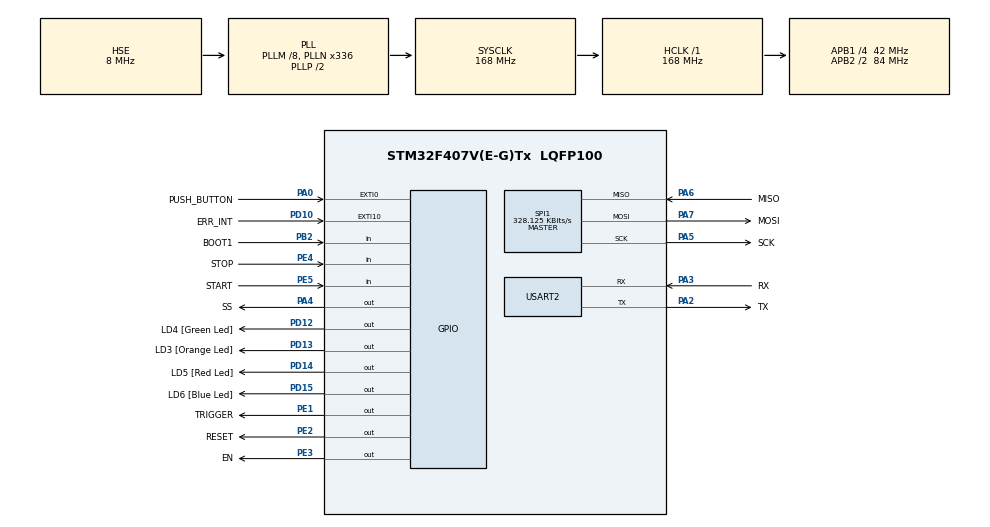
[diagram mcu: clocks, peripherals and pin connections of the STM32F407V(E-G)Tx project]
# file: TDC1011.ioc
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Mcu.Family=STM32F4
Mcu.Name=STM32F407V(E-G)Tx
Mcu.Package=LQFP100
NVIC.EXTI0_IRQn=true\:1\:0\:true\:false\:true\:true
NVIC.EXTI15_10_IRQn=true\:1\:0\:true\:false\:true\:true
NVIC.PriorityGroup=NVIC_PRIORITYGROUP_1
NVIC.RCC_IRQn=true\:0\:0\:false\:false\:true\:true
NVIC.SPI1_IRQn=true\:0\:0\:false\:false\:true\:true
PA0-WKUP.GPIO_Label=PUSH_BUTTON
PA0-WKUP.Signal=GPXTI0
PA13.GPIO_Label=SWDIO
PA13.Mode=Serial_Wire
PA13.Signal=SYS_JTMS-SWDIO
PA14.GPIO_Label=SWCLK
PA14.Mode=Serial_Wire
PA14.Signal=SYS_JTCK-SWCLK
PA2.GPIO_Label=TX
PA2.Mode=Asynchronous
PA2.Signal=USART2_TX
PA3.GPIO_Label=RX
PA3.Mode=Asynchronous
PA3.Signal=USART2_RX
PA4.GPIO_Label=SS
PA4.GPIO_ModeDefaultOutputPP=GPIO_MODE_OUTPUT_OD
PA4.GPIO_PuPd=GPIO_PULLUP
PA4.PinState=GPIO_PIN_SET
PA4.Signal=GPIO_Output
PA5.GPIO_Label=SCK
PA5.Mode=Full_Duplex_Master
PA5.Signal=SPI1_SCK
PA6.GPIO_Label=MISO
PA6.Mode=Full_Duplex_Master
PA6.Signal=SPI1_MISO
PA7.GPIO_Label=MOSI
PA7.Mode=Full_Duplex_Master
PA7.Signal=SPI1_MOSI
PB2.GPIO_Label=BOOT1
PB2.GPIO_Mode=GPIO_MODE_INPUT
PB2.GPIO_PuPd=GPIO_NOPULL
PB2.Signal=GPIO_Input
PC14-OSC32_IN.GPIO_Label=PC14-OSC32_IN
PC14-OSC32_IN.Mode=LSE-External-Oscillator
PC14-OSC32_IN.Signal=RCC_OSC32_IN
PC15-OSC32_OUT.GPIO_Label=PC15-OSC32_OUT
PC15-OSC32_OUT.Mode=LSE-External-Oscillator
PC15-OSC32_OUT.Signal=RCC_OSC32_OUT
PD10.GPIO_Label=ERR_INT
PD10.GPIO_ModeDefaultEXTI=GPIO_MODE_IT_FALLING
PD10.Signal=GPXTI10
PD12.GPIO_Label=LD4 [Green Led]
PD12.GPIO_PuPd=GPIO_NOPULL
PD12.GPIO_Speed=GPIO_SPEED_FREQ_LOW
PD12.Signal=GPIO_Output
PD13.GPIO_Label=LD3 [Orange Led]
PD13.GPIO_PuPd=GPIO_NOPULL
PD13.GPIO_Speed=GPIO_SPEED_FREQ_LOW
PD13.Signal=GPIO_Output
PD14.GPIO_Label=LD5 [Red Led]
PD14.GPIO_PuPd=GPIO_NOPULL
PD14.GPIO_Speed=GPIO_SPEED_FREQ_LOW
PD14.Signal=GPIO_Output
PD15.GPIO_Label=LD6 [Blue Led]
PD15.GPIO_PuPd=GPIO_NOPULL
PD15.GPIO_Speed=GPIO_SPEED_FREQ_LOW
PD15.Signal=GPIO_Output
PE1.GPIO_Label=TRIGGER
PE1.GPIO_PuPd=GPIO_PULLDOWN
PE1.Signal=GPIO_Output
PE2.GPIO_Label=RESET
PE2.GPIO_PuPd=GPIO_PULLDOWN
PE2.Signal=GPIO_Output
PE3.GPIO_Label=EN
PE3.GPIO_PuPd=GPIO_PULLDOWN
PE3.Signal=GPIO_Output
PE4.GPIO_Label=STOP
PE4.GPIO_PuPd=GPIO_PULLDOWN
PE4.Signal=GPIO_Input
PE5.GPIO_Label=START
PE5.GPIO_PuPd=GPIO_PULLDOWN
PE5.Signal=GPIO_Input
PH0-OSC_IN.GPIO_Label=PH0-OSC_IN
PH0-OSC_IN.Mode=HSE-External-Oscillator
PH0-OSC_IN.Signal=RCC_OSC_IN
PH1-OSC_OUT.GPIO_Label=PH1-OSC_OUT
PH1-OSC_OUT.Mode=HSE-External-Oscillator
PH1-OSC_OUT.Signal=RCC_OSC_OUT
ProjectManager.HeapSize=0x200
ProjectManager.StackSize=0x400
ProjectManager.TargetToolchain=MDK-ARM V5
RCC.48MHZClocksFreq_Value=48000000
RCC.AHBFreq_Value=168000000
RCC.APB1CLKDivider=RCC_HCLK_DIV4
RCC.APB1Freq_Value=42000000
RCC.APB1TimFreq_Value=84000000
RCC.APB2CLKDivider=RCC_HCLK_DIV2
RCC.APB2Freq_Value=84000000
RCC.APB2TimFreq_Value=168000000
RCC.CortexFreq_Value=168000000
RCC.HCLKFreq_Value=168000000
RCC.HSE_VALUE=8000000
RCC.HSI_VALUE=16000000
RCC.PLLM=8
RCC.PLLN=336
RCC.PLLQ=7
RCC.PLLSourceVirtual=RCC_PLLSOURCE_HSE
RCC.SYSCLKFreq_VALUE=168000000
RCC.SYSCLKSource=RCC_SYSCLKSOURCE_PLLCLK
RCC.VCOOutputFreq_Value=336000000
SPI1.BaudRatePrescaler=SPI_BAUDRATEPRESCALER_256
SPI1.CalculateBaudRate=328.125 KBits/s
SPI1.Direction=SPI_DIRECTION_2LINES
SPI1.Mode=SPI_MODE_MASTER
SPI1.VirtualType=VM_MASTER
USART2.VirtualMode=VM_ASYNC
board=STM32F4DISCOVERY

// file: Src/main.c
/**
  ******************************************************************************
  * @file           : main.c
  * @brief          : Main program body
  ******************************************************************************
  ** This notice applies to any and all portions of this file
  * that are not between comment pairs USER CODE BEGIN and
  * USER CODE END. Other portions of this file, whether
  * inserted by the user or by software development tools
  * are owned by their respective copyright owners.
  *
  * COPYRIGHT(c) 2018 STMicroelectronics
  *
  * Redistribution and use in source and binary forms, with or without modification,
  * are permitted provided that the following conditions are met:
  *   1. Redistributions of source code must retain the above copyright notice,
  *      this list of conditions and the following disclaimer.
  *   2. Redistributions in binary form must reproduce the above copyright notice,
  *      this list of conditions and the following disclaimer in the documentation
  *      and/or other materials provided with the distribution.
  *   3. Neither the name of STMicroelectronics nor the names of its contributors
  *      may be used to endorse or promote products derived from this software
  *      without specific prior written permission.
  *
  * THIS SOFTWARE IS PROVIDED BY THE COPYRIGHT HOLDERS AND CONTRIBUTORS "AS IS"
  * AND ANY EXPRESS OR IMPLIED WARRANTIES, INCLUDING, BUT NOT LIMITED TO, THE
  * IMPLIED WARRANTIES OF MERCHANTABILITY AND FITNESS FOR A PARTICULAR PURPOSE ARE
  * DISCLAIMED. IN NO EVENT SHALL THE COPYRIGHT HOLDER OR CONTRIBUTORS BE LIABLE
  * FOR ANY DIRECT, INDIRECT, INCIDENTAL, SPECIAL, EXEMPLARY, OR CONSEQUENTIAL
  * DAMAGES (INCLUDING, BUT NOT LIMITED TO, PROCUREMENT OF SUBSTITUTE GOODS OR
  * SERVICES; LOSS OF USE, DATA, OR PROFITS; OR BUSINESS INTERRUPTION) HOWEVER
  * CAUSED AND ON ANY THEORY OF LIABILITY, WHETHER IN CONTRACT, STRICT LIABILITY,
  * OR TORT (INCLUDING NEGLIGENCE OR OTHERWISE) ARISING IN ANY WAY OUT OF THE USE
  * OF THIS SOFTWARE, EVEN IF ADVISED OF THE POSSIBILITY OF SUCH DAMAGE.
  *
  ******************************************************************************
  */
#include "main.h"
#include "stm32f4xx_hal.h"

/* USER CODE BEGIN Includes */
#include "TDC1011.h"
/* USER CODE END Includes */

SPI_HandleTypeDef hspi1;

UART_HandleTypeDef huart2;

/* USER CODE BEGIN PV */
/* Private variables ---------------------------------------------------------*/
#ifdef __GNUC__
  /* With GCC/RAISONANCE, small printf (option LD Linker->Libraries->Small printf
     set to 'Yes') calls __io_putchar() */
  #define PUTCHAR_PROTOTYPE int __io_putchar(int ch)
#else
  #define PUTCHAR_PROTOTYPE int fputc(int ch, FILE *f)
#endif /* __GNUC__ */

/**
  * @brief  Retargets the C library printf function to the USART.
  * @param  None
  * @retval None
  */
PUTCHAR_PROTOTYPE
{
	/* Place your implementation of fputc here */
	/* e.g. write a character to the USART */
	HAL_UART_Transmit(&huart2, (uint8_t *)&ch, 1, 100);

	return ch;
}
/* USER CODE END PV */

void SystemClock_Config(void);
static void MX_GPIO_Init(void);
static void MX_SPI1_Init(void);
static void MX_USART2_UART_Init(void);

/* USER CODE BEGIN PFP */
/* Private function prototypes -----------------------------------------------*/

/* USER CODE END PFP */

int main(void)
{

  /* MCU Configuration----------------------------------------------------------*/

  /* Reset of all peripherals, Initializes the Flash interface and the Systick. */
  HAL_Init();

  /* Configure the system clock */
  SystemClock_Config();

  /* Initialize all configured peripherals */
  MX_GPIO_Init();
  MX_SPI1_Init();
  MX_USART2_UART_Init();
  /* USER CODE BEGIN 2 */
	TDC1011_Config(&hspi1);

  /* USER CODE END 2 */

  /* Infinite loop */
  while (1)
  {

  /* USER CODE BEGIN 3 */

		HAL_GPIO_TogglePin(LD3_GPIO_Port, LD3_Pin);
		HAL_Delay(250);
		HAL_GPIO_TogglePin(LD4_GPIO_Port, LD4_Pin);
		HAL_Delay(250);
		HAL_GPIO_TogglePin(LD5_GPIO_Port, LD5_Pin);
		HAL_Delay(250);
		HAL_GPIO_TogglePin(LD6_GPIO_Port, LD6_Pin);
		HAL_Delay(250);

  }
  /* USER CODE END 3 */

}

void SystemClock_Config(void)
{

  RCC_OscInitTypeDef RCC_OscInitStruct;
  RCC_ClkInitTypeDef RCC_ClkInitStruct;

    /**Configure the main internal regulator output voltage
    */
  __HAL_RCC_PWR_CLK_ENABLE();

  __HAL_PWR_VOLTAGESCALING_CONFIG(PWR_REGULATOR_VOLTAGE_SCALE1);

    /**Initializes the CPU, AHB and APB busses clocks
    */
  RCC_OscInitStruct.OscillatorType = RCC_OSCILLATORTYPE_HSE;
  RCC_OscInitStruct.HSEState = RCC_HSE_ON;
  RCC_OscInitStruct.PLL.PLLState = RCC_PLL_ON;
  RCC_OscInitStruct.PLL.PLLSource = RCC_PLLSOURCE_HSE;
  RCC_OscInitStruct.PLL.PLLM = 8;
  RCC_OscInitStruct.PLL.PLLN = 336;
  RCC_OscInitStruct.PLL.PLLP = RCC_PLLP_DIV2;
  RCC_OscInitStruct.PLL.PLLQ = 7;
  if (HAL_RCC_OscConfig(&RCC_OscInitStruct) != HAL_OK)
  {
    _Error_Handler(__FILE__, __LINE__);
  }

    /**Initializes the CPU, AHB and APB busses clocks
    */
  RCC_ClkInitStruct.ClockType = RCC_CLOCKTYPE_HCLK|RCC_CLOCKTYPE_SYSCLK
                              |RCC_CLOCKTYPE_PCLK1|RCC_CLOCKTYPE_PCLK2;
  RCC_ClkInitStruct.SYSCLKSource = RCC_SYSCLKSOURCE_PLLCLK;
  RCC_ClkInitStruct.AHBCLKDivider = RCC_SYSCLK_DIV1;
  RCC_ClkInitStruct.APB1CLKDivider = RCC_HCLK_DIV4;
  RCC_ClkInitStruct.APB2CLKDivider = RCC_HCLK_DIV2;

  if (HAL_RCC_ClockConfig(&RCC_ClkInitStruct, FLASH_LATENCY_5) != HAL_OK)
  {
    _Error_Handler(__FILE__, __LINE__);
  }

    /**Configure the Systick interrupt time
    */
  HAL_SYSTICK_Config(HAL_RCC_GetHCLKFreq()/1000);

    /**Configure the Systick
    */
  HAL_SYSTICK_CLKSourceConfig(SYSTICK_CLKSOURCE_HCLK);

  /* SysTick_IRQn interrupt configuration */
  HAL_NVIC_SetPriority(SysTick_IRQn, 0, 0);
}

/* SPI1 init function */
static void MX_SPI1_Init(void)
{

  /* SPI1 parameter configuration*/
  hspi1.Instance = SPI1;
  hspi1.Init.Mode = SPI_MODE_MASTER;
  hspi1.Init.Direction = SPI_DIRECTION_2LINES;
  hspi1.Init.DataSize = SPI_DATASIZE_8BIT;
  hspi1.Init.CLKPolarity = SPI_POLARITY_LOW;
  hspi1.Init.CLKPhase = SPI_PHASE_1EDGE;
  hspi1.Init.NSS = SPI_NSS_SOFT;
  hspi1.Init.BaudRatePrescaler = SPI_BAUDRATEPRESCALER_256;
  hspi1.Init.FirstBit = SPI_FIRSTBIT_MSB;
  hspi1.Init.TIMode = SPI_TIMODE_DISABLE;
  hspi1.Init.CRCCalculation = SPI_CRCCALCULATION_DISABLE;
  hspi1.Init.CRCPolynomial = 10;
  if (HAL_SPI_Init(&hspi1) != HAL_OK)
  {
    _Error_Handler(__FILE__, __LINE__);
  }

}

/* USART2 init function */
static void MX_USART2_UART_Init(void)
{

  huart2.Instance = USART2;
  huart2.Init.BaudRate = 115200;
  huart2.Init.WordLength = UART_WORDLENGTH_8B;
  huart2.Init.StopBits = UART_STOPBITS_1;
  huart2.Init.Parity = UART_PARITY_NONE;
  huart2.Init.Mode = UART_MODE_TX_RX;
  huart2.Init.HwFlowCtl = UART_HWCONTROL_NONE;
  huart2.Init.OverSampling = UART_OVERSAMPLING_16;
  if (HAL_UART_Init(&huart2) != HAL_OK)
  {
    _Error_Handler(__FILE__, __LINE__);
  }

}

/** Configure pins as
        * Analog
        * Input
        * Output
        * EVENT_OUT
        * EXTI
*/
static void MX_GPIO_Init(void)
{

  GPIO_InitTypeDef GPIO_InitStruct;

  /* GPIO Ports Clock Enable */
  __HAL_RCC_GPIOE_CLK_ENABLE();
  __HAL_RCC_GPIOC_CLK_ENABLE();
  __HAL_RCC_GPIOH_CLK_ENABLE();
  __HAL_RCC_GPIOA_CLK_ENABLE();
  __HAL_RCC_GPIOB_CLK_ENABLE();
  __HAL_RCC_GPIOD_CLK_ENABLE();

  /*Configure GPIO pin Output Level */
  HAL_GPIO_WritePin(GPIOE, RESET_Pin|EN_Pin|TRIGGER_Pin, GPIO_PIN_RESET);

  /*Configure GPIO pin Output Level */
  HAL_GPIO_WritePin(SS_GPIO_Port, SS_Pin, GPIO_PIN_SET);

  /*Configure GPIO pin Output Level */
  HAL_GPIO_WritePin(GPIOD, LD4_Pin|LD3_Pin|LD5_Pin|LD6_Pin, GPIO_PIN_RESET);

  /*Configure GPIO pins : RESET_Pin EN_Pin TRIGGER_Pin */
  GPIO_InitStruct.Pin = RESET_Pin|EN_Pin|TRIGGER_Pin;
  GPIO_InitStruct.Mode = GPIO_MODE_OUTPUT_PP;
  GPIO_InitStruct.Pull = GPIO_PULLDOWN;
  GPIO_InitStruct.Speed = GPIO_SPEED_FREQ_LOW;
  HAL_GPIO_Init(GPIOE, &GPIO_InitStruct);

  /*Configure GPIO pins : STOP_Pin START_Pin */
  GPIO_InitStruct.Pin = STOP_Pin|START_Pin;
  GPIO_InitStruct.Mode = GPIO_MODE_INPUT;
  GPIO_InitStruct.Pull = GPIO_PULLDOWN;
  HAL_GPIO_Init(GPIOE, &GPIO_InitStruct);

  /*Configure GPIO pin : PUSH_BUTTON_Pin */
  GPIO_InitStruct.Pin = PUSH_BUTTON_Pin;
  GPIO_InitStruct.Mode = GPIO_MODE_IT_RISING;
  GPIO_InitStruct.Pull = GPIO_NOPULL;
  HAL_GPIO_Init(PUSH_BUTTON_GPIO_Port, &GPIO_InitStruct);

  /*Configure GPIO pin : SS_Pin */
  GPIO_InitStruct.Pin = SS_Pin;
  GPIO_InitStruct.Mode = GPIO_MODE_OUTPUT_OD;
  GPIO_InitStruct.Pull = GPIO_PULLUP;
  GPIO_InitStruct.Speed = GPIO_SPEED_FREQ_LOW;
  HAL_GPIO_Init(SS_GPIO_Port, &GPIO_InitStruct);

  /*Configure GPIO pin : BOOT1_Pin */
  GPIO_InitStruct.Pin = BOOT1_Pin;
  GPIO_InitStruct.Mode = GPIO_MODE_INPUT;
  GPIO_InitStruct.Pull = GPIO_NOPULL;
  HAL_GPIO_Init(BOOT1_GPIO_Port, &GPIO_InitStruct);

  /*Configure GPIO pin : ERR_INT_Pin */
  GPIO_InitStruct.Pin = ERR_INT_Pin;
  GPIO_InitStruct.Mode = GPIO_MODE_IT_FALLING;
  GPIO_InitStruct.Pull = GPIO_NOPULL;
  HAL_GPIO_Init(ERR_INT_GPIO_Port, &GPIO_InitStruct);

  /*Configure GPIO pins : LD4_Pin LD3_Pin LD5_Pin LD6_Pin */
  GPIO_InitStruct.Pin = LD4_Pin|LD3_Pin|LD5_Pin|LD6_Pin;
  GPIO_InitStruct.Mode = GPIO_MODE_OUTPUT_PP;
  GPIO_InitStruct.Pull = GPIO_NOPULL;
  GPIO_InitStruct.Speed = GPIO_SPEED_FREQ_LOW;
  HAL_GPIO_Init(GPIOD, &GPIO_InitStruct);

  /* EXTI interrupt init*/
  HAL_NVIC_SetPriority(EXTI0_IRQn, 1, 0);
  HAL_NVIC_EnableIRQ(EXTI0_IRQn);

  HAL_NVIC_SetPriority(EXTI15_10_IRQn, 1, 0);
  HAL_NVIC_EnableIRQ(EXTI15_10_IRQn);

}

void _Error_Handler(char *file, int line)
{
  while(1)
  {
  }
}

/************************ (C) COPYRIGHT STMicroelectronics *****END OF FILE****/
